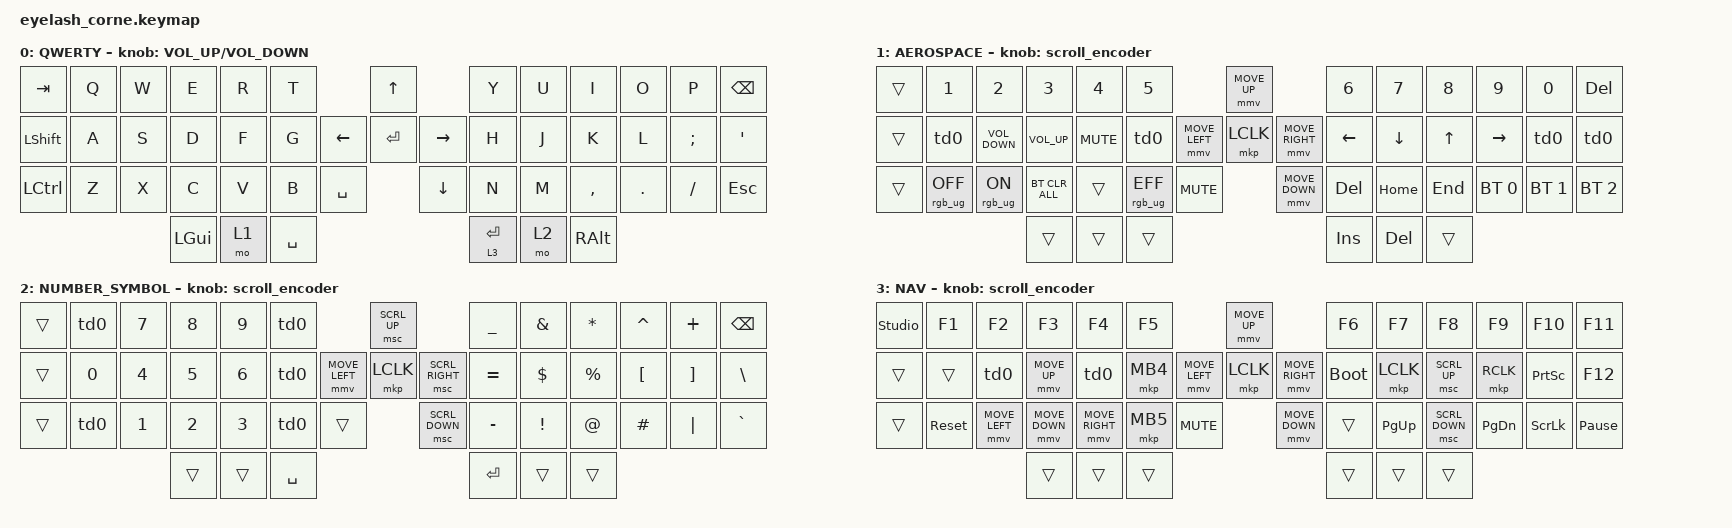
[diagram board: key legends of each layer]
#define ZMK_POINTING_DEFAULT_MOVE_VAL 1200  // 600
#define ZMK_POINTING_DEFAULT_SCRL_VAL 25   // 10

#include <input/processors.dtsi>
#include <zephyr/dt-bindings/input/input-event-codes.h>
#include <behaviors.dtsi>
#include <dt-bindings/zmk/bt.h>
#include <dt-bindings/zmk/keys.h>
#include <dt-bindings/zmk/pointing.h>
#include <dt-bindings/zmk/rgb.h>

&mmv_input_listener { input-processors = <&zip_xy_scaler 2 1>; };

&msc_input_listener { input-processors = <&zip_scroll_scaler 2 1>; };

&msc {
    acceleration-exponent = <1>;      // 0
    time-to-max-speed-ms = <100>;       // 300
    delay-ms = <0>;                   // 0
};

&mmv {
    time-to-max-speed-ms = <500>;
    acceleration-exponent = <1>;
    trigger-period-ms = <16>;
};

&soft_off { hold-time-ms = <2000>; };

/ {
    behaviors {
        td0: td0 {
            compatible = "zmk,behavior-tap-dance";
            display-name = "Shift/Caps Lock Tap Dance";
            #binding-cells = <0>;
            bindings = <&kp LEFT_SHIFT>, <&kp CAPS>;
        };
    };

    rgb_encoder: rgb_encoder {
        compatible = "zmk,behavior-sensor-rotate";
        #sensor-binding-cells = <0>;
        bindings = <&rgb_ug RGB_BRI>, <&rgb_ug RGB_BRD>;
    };

    scroll_encoder: scroll_encoder {
        compatible = "zmk,behavior-sensor-rotate";
        #sensor-binding-cells = <0>;
        bindings = <&msc SCRL_DOWN>, <&msc SCRL_UP>;

        tap-ms = <100>;
    };

    combos {
        compatible = "zmk,combos";

        softoff {
            bindings = <&soft_off>;
            key-positions = <1 15 29>;
        };
    };

    keymap {
        compatible = "zmk,keymap";

        default_layer {
            display-name = "QWERTY";
            bindings = <
&kp TAB         &kp Q  &kp W  &kp E     &kp R  &kp T                             &kp UP                &kp Y        &kp U  &kp I      &kp O    &kp P     &kp BSPC
&kp LEFT_SHIFT  &kp A  &kp S  &kp D     &kp F  &kp G                   &kp LEFT  &kp ENTER  &kp RIGHT  &kp H        &kp J  &kp K      &kp L    &kp SEMI  &kp SQT
&kp LCTRL       &kp Z  &kp X  &kp C     &kp V  &kp B      &kp SPACE              &kp DOWN              &kp N        &kp M  &kp COMMA  &kp DOT  &kp FSLH  &kp ESC
                              &kp LGUI  &mo 1  &kp SPACE                                               &lt 3 ENTER  &mo 2  &kp RALT
            >;

            sensor-bindings = <&inc_dec_kp C_VOLUME_UP C_VOLUME_DOWN>;
        };

        lower_layer {
            display-name = "AEROSPACE";
            bindings = <
&trans  &kp N1           &kp N2             &kp N3           &kp N4      &kp N5                                         &mmv MOVE_UP                     &kp N6    &kp N7          &kp N8        &kp N9        &kp N0        &kp DELETE
&trans  &td0             &kp C_VOLUME_DOWN  &kp C_VOLUME_UP  &kp K_MUTE  &td0                           &mmv MOVE_LEFT  &mkp LCLK       &mmv MOVE_RIGHT  &kp LEFT  &kp DOWN_ARROW  &kp UP_ARROW  &kp RIGHT     &td0          &td0
&trans  &rgb_ug RGB_OFF  &rgb_ug RGB_ON     &bt BT_CLR_ALL   &trans      &rgb_ug RGB_EFF  &kp C_MUTE                    &mmv MOVE_DOWN                   &kp DEL   &kp HOME        &kp END       &bt BT_SEL 0  &bt BT_SEL 1  &bt BT_SEL 2
                                            &trans           &trans      &trans                                                                          &kp INS   &kp DEL         &trans
            >;

            sensor-bindings = <&scroll_encoder>;
        };

        raise_layer {
            display-name = "NUMBER_SYMBOL";
            bindings = <
&trans  &td0    &kp N7        &kp N8        &kp N9        &td0                                 &msc SCRL_UP                     &kp UNDERSCORE  &kp AMPS         &kp ASTERISK  &kp CARET         &kp PLUS           &kp BSPC
&trans  &kp N0  &kp NUMBER_4  &kp N5        &kp NUMBER_6  &td0                 &mmv MOVE_LEFT  &mkp LCLK       &msc SCRL_RIGHT  &kp EQUAL       &kp DOLLAR       &kp PERCENT   &kp LEFT_BRACKET  &kp RIGHT_BRACKET  &kp BACKSLASH
&trans  &td0    &kp NUMBER_1  &kp NUMBER_2  &kp NUMBER_3  &td0       &trans                    &msc SCRL_DOWN                   &kp MINUS       &kp EXCLAMATION  &kp AT_SIGN   &kp HASH          &kp PIPE           &kp GRAVE
                              &trans        &trans        &kp SPACE                                                             &kp RET         &trans           &trans
            >;

            sensor-bindings = <&scroll_encoder>;
        };

        layer_3 {
            display-name = "NAV";
            bindings = <
&studio_unlock  &kp F1      &kp F2          &kp F3          &kp F4           &kp F5                                  &mmv MOVE_UP                     &kp F6       &kp F7       &kp F8          &kp F9         &kp F10          &kp F11
&trans          &trans      &td0            &mmv MOVE_UP    &td0             &mkp MB4                &mmv MOVE_LEFT  &mkp LCLK       &mmv MOVE_RIGHT  &bootloader  &mkp LCLK    &msc SCRL_UP    &mkp RCLK      &kp PRINTSCREEN  &kp F12
&trans          &sys_reset  &mmv MOVE_LEFT  &mmv MOVE_DOWN  &mmv MOVE_RIGHT  &mkp MB5  &kp C_MUTE                    &mmv MOVE_DOWN                   &trans       &kp PAGE_UP  &msc SCRL_DOWN  &kp PAGE_DOWN  &kp SCROLLLOCK   &kp PAUSE_BREAK
                                            &trans          &trans           &trans                                                                   &trans       &trans       &trans
            >;

            sensor-bindings = <&scroll_encoder>;
        };
    };
};
